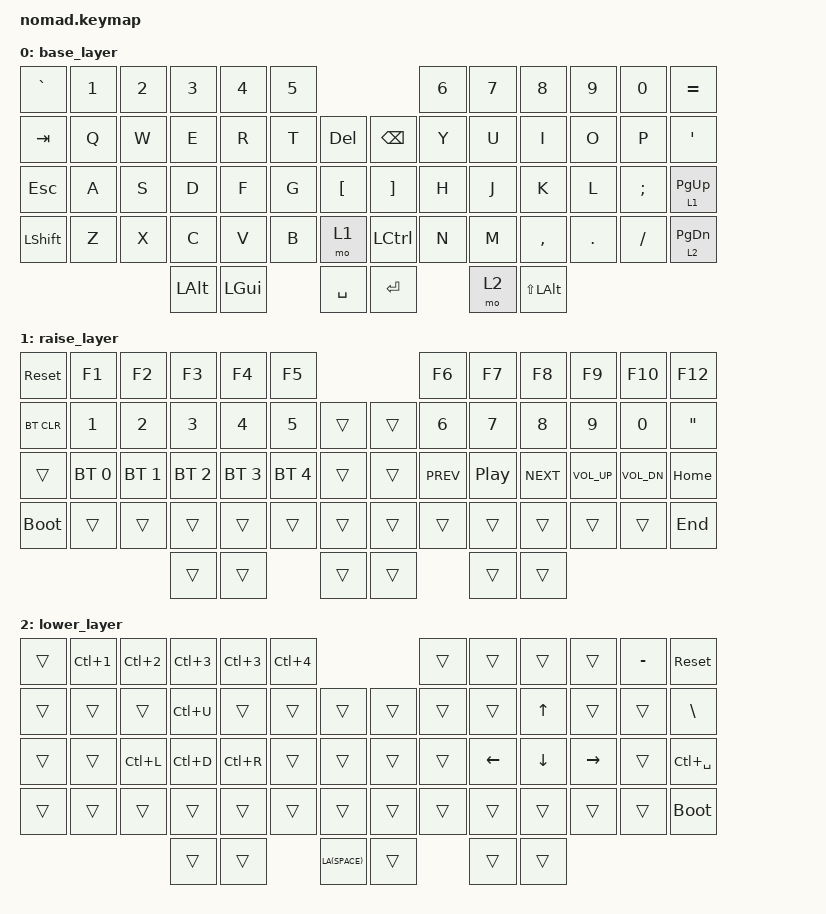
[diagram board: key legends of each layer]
/*
 * Copyright (c) 2020 The ZMK Contributors
 *
 * SPDX-License-Identifier: MIT
 */

#include <behaviors.dtsi>
#include <dt-bindings/zmk/keys.h>
#include <dt-bindings/zmk/bt.h>

/ {
        behaviors {
                blt: b_layer_tap {
                        compatible = "zmk,behavior-hold-tap";
                        #binding-cells = <2>;
                        tapping-term-ms = <200>;
                        flavor = "tap-preferred";
                        bindings = <&mo>, <&kp>;
                };
        };

        keymap {
                compatible = "zmk,keymap";

                base_layer {
// -----------------------------------------------------------------------------------------
// | `~  |  1  |  2  |  3  |  4  |  5  |                             |  6  |  7  |  8  |  9  |  0  | +=  |
// | TAB |  Q  |  W  |  E  |  R  |  T  | DEL |                 | BKS |  Y  |  U  |  I  |  O  |  P  |  '  |
// | ESC |  A  |  S  |  D  |  F  |  G  | {[  |                 |  ]} |  H  |  J  |  K  |  L  |  ;  |PGUP |
// |SHIFT|  Z  |  X  |  C  |  V  |  B  |UPP|               | CTRL|N+ALT|  M  |  ,  |  .  |  /  |PGDWN|
//                   | ALT | CMD |  -- | SPC |                 | ENT |  -- | LWR | CMD |                  
//
//                
                        bindings = <
   &kp GRAVE  &kp N1  &kp N2  &kp N3   &kp N4    &kp N5                             &kp N6  &kp N7  &kp N8     &kp N9    &kp N0    &kp EQUAL
   &kp TAB    &kp Q   &kp W   &kp E    &kp R     &kp T     &kp DEL       &kp BSPC   &kp Y   &kp U   &kp I      &kp O     &kp P     &kp SQT
   &kp ESC    &kp A   &kp S   &kp D    &kp F     &kp G     &kp LBKT      &kp RBKT   &kp H   &kp J   &kp K      &kp L     &kp SEMI  &blt 1 PG_UP
   &kp LSHFT  &kp Z   &kp X   &kp C    &kp V     &kp B     &mo 1         &kp LCTRL  &kp N   &kp M   &kp COMMA  &kp DOT   &kp FSLH  &blt 2 PG_DN
                              &kp LALT &kp LGUI            &kp SPACE     &kp RET            &mo 2   &kp LS(LALT)
                        >;
                };

                raise_layer {
//// -----------------------------------------------------------------------------------------
//// |RESET| F1  | F2  | F3  | F4  | F5  |                     | F6  | F7  | F8  | F9  | F10 | F12 |
//// |BTCLR|  1  |  2  |  3  |  4  |  5  |TRANS|         |TRANS|  6  |  7  |  8  |  9  |  0  |  "  |
//// |     | BT1 | BT2 | BT3 | BT4 | BT5 |     |         |     | PREV| PLAY| NEXT|VOLUP|VOLDN|HOME |
//// |BOOT |     |     |     |     |  XX |  .T |         |  .T |  XX |     |     |     |     |END  |
////                   |     |     |  -- |  .T |         |  .T |  -- |     |     |                  
////
////                
                        bindings = <
   &sys_reset    &kp F1        &kp F2        &kp F3        &kp F4        &kp F5                                &kp F6      &kp F7        &kp F8        &kp F9        &kp F10       &kp F12
   &bt BT_CLR    &kp N1        &kp N2        &kp N3        &kp N4        &kp N5        &trans        &trans    &kp N6      &kp N7        &kp N8        &kp N9        &kp N0        &kp DQT
   &trans        &bt BT_SEL 0  &bt BT_SEL 1  &bt BT_SEL 2  &bt BT_SEL 3  &bt BT_SEL 4  &trans        &trans    &kp C_PREV  &kp C_PP      &kp C_NEXT    &kp C_VOL_UP  &kp C_VOL_DN  &kp HOME
   &bootloader   &trans        &trans        &trans        &trans        &trans        &trans        &trans    &trans      &trans        &trans        &trans        &trans        &kp END
                                             &trans        &trans                      &trans        &trans                &trans        &trans
                        >;
                };

                lower_layer {
//// -----------------------------------------------------------------------------------------
//// |     |CTR+1|CTR+2|     |     |     |                     |     |     |     |     |MINUS|RESET   |
//// |     |     |     |CTR+U|     |     |     |         |TRANS|     |     |  UP |     |     |BSLH|
//// |     |     |CTR+L|CTR+D|CTR+R|     |     |         |     |     | LEFT| DOWN|RIGHT|     |(LC SPC)|
//// |     |     |     |     |     |  XX |  .T |         |  .T |  XX |     |     |     |     | BOOT   |
////                   |     |     |  -- |  .T |         |  .T |  -- |     |     |                  
////
////                
                        bindings = <
   &trans   &kp LC(N1)  &kp LC(N2)  &kp LC(N3)  &kp LC(N3)   &kp LC(N4)                             &trans   &trans     &trans     &trans      &kp MINUS  &sys_reset
   &trans   &trans      &trans      &kp LC(U)   &trans       &trans     &trans          &trans      &trans   &trans     &kp UP     &trans      &trans     &kp BSLH
   &trans   &trans      &kp LC(L)   &kp LC(D)   &kp LC(R)    &trans     &trans          &trans      &trans   &kp LEFT   &kp DOWN   &kp RIGHT   &trans     &kp LC(SPACE)
   &trans   &trans      &trans      &trans      &trans       &trans     &trans          &trans      &trans   &trans     &trans     &trans      &trans     &bootloader
                                    &trans      &trans                  &LA(SPACE)          &trans               &trans     &trans
                        >;
                };
        };
};

// TEMPLATE
// --------
//                base_layer {
//// -----------------------------------------------------------------------------------------
//// |     |     |     |     |     |     |                     |     |     |     |     |     |     |
//// |     |     |     |     |     |     |     |         |     |     |     |     |     |     |     |
//// |     |     |     |     |     |     |     |         |     |     |     |     |     |     |     |
//// |     |     |     |     |     |  XX |  .T |         |  .T |  XX |     |     |     |     |     |
////                   |     |     |  -- |  .T |         |  .T |  -- |     |     |                  
////
////                
//                        bindings = <
//   &trans &trans &trans &trans &trans &trans                   &trans &trans &trans &trans &trans &trans
//   &trans &trans &trans &trans &trans &trans &trans     &trans &trans &trans &trans &trans &trans &trans
//   &trans &trans &trans &trans &trans &trans &trans     &trans &trans &trans &trans &trans &trans &trans
//   &trans &trans &trans &trans &trans &trans &trans     &trans &trans &trans &trans &trans &trans &trans
//                        &trans &trans        &trans     &trans        &trans &trans                     
//                        >;
//                };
